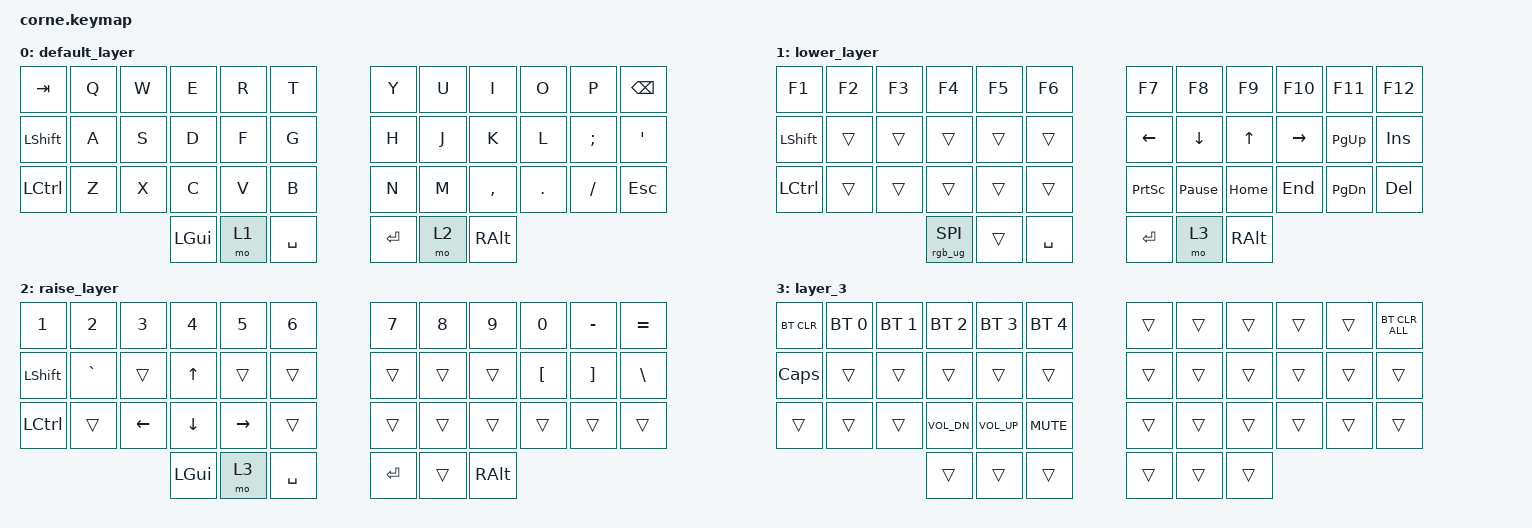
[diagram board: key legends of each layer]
/*
 * Copyright (c) 2020 The ZMK Contributors
 *
 * SPDX-License-Identifier: MIT
 */

#include <behaviors.dtsi>
#include <dt-bindings/zmk/bt.h>
#include <dt-bindings/zmk/keys.h>
#include <dt-bindings/zmk/rgb.h>

/ {
    keymap {
        compatible = "zmk,keymap";

        default_layer {
            // -----------------------------------------------------------------------------------------
            // |  TAB |  Q  |  W  |  E  |  R  |  T  |   |  Y  |  U   |  I  |  O  |  P  | BKSP |
            // | CTRL |  A  |  S  |  D  |  F  |  G  |   |  H  |  J   |  K  |  L  |  ;  |  '   |
            // | SHFT |  Z  |  X  |  C  |  V  |  B  |   |  N  |  M   |  ,  |  .  |  /  | ESC  |
            //                    | GUI | LWR | SPC |   | ENT | RSE  | ALT |

            bindings = <
&kp TAB           &kp Q  &kp W  &kp E     &kp R  &kp T        &kp Y    &kp U  &kp I      &kp O    &kp P     &kp BSPC
&kp LEFT_SHIFT    &kp A  &kp S  &kp D     &kp F  &kp G        &kp H    &kp J  &kp K      &kp L    &kp SEMI  &kp SQT
&kp LEFT_CONTROL  &kp Z  &kp X  &kp C     &kp V  &kp B        &kp N    &kp M  &kp COMMA  &kp DOT  &kp FSLH  &kp ESC
                                &kp LGUI  &mo 1  &kp SPACE    &kp RET  &mo 2  &kp RALT
            >;
        };

        lower_layer {
            // -----------------------------------------------------------------------------------------
            // |  TAB |  1  |  2  |  3  |  4  |  5  |   |  6  |  7  |  8  |  9  |  0  | BKSP |
            // | BTCLR| BT1 | BT2 | BT3 | BT4 | BT5 |   | LFT | DWN |  UP | RGT |     |      |
            // | SHFT |     |     |     |     |     |   |     |     |     |     |     |      |
            //                    | GUI |     | SPC |   | ENT |     | ALT |

            bindings = <
&kp F1          &kp F2  &kp F3  &kp F4           &kp F5  &kp F6       &kp F7           &kp F8           &kp F9    &kp F10    &kp F11        &kp F12
&kp LEFT_SHIFT  &trans  &trans  &trans           &trans  &trans       &kp LEFT         &kp DOWN         &kp UP    &kp RIGHT  &kp PAGE_UP    &kp INSERT
&kp LCTRL       &trans  &trans  &trans           &trans  &trans       &kp PRINTSCREEN  &kp PAUSE_BREAK  &kp HOME  &kp END    &kp PAGE_DOWN  &kp DELETE
                                &rgb_ug RGB_SPI  &trans  &kp SPACE    &kp RET          &mo 3            &kp RALT
            >;
        };

        raise_layer {
            // -----------------------------------------------------------------------------------------
            // |  TAB |  !  |  @  |  #  |  $  |  %  |   |  ^  |  &  |  *  |  (  |  )  | BKSP |
            // | CTRL |     |     |     |     |     |   |  -  |  =  |  [  |  ]  |  \  |  `   |
            // | SHFT |     |     |     |     |     |   |  _  |  +  |  {  |  }  | "|" |  ~   |
            //                    | GUI |     | SPC |   | ENT |     | ALT |

            bindings = <
&kp NUMBER_1    &kp NUMBER_2  &kp NUMBER_3    &kp NUMBER_4    &kp NUMBER_5     &kp NUMBER_6    &kp NUMBER_7  &kp NUMBER_8  &kp NUMBER_9  &kp NUMBER_0      &kp MINUS          &kp EQUAL
&kp LEFT_SHIFT  &kp GRAVE     &trans          &kp UP_ARROW    &trans           &trans          &trans        &trans        &trans        &kp LEFT_BRACKET  &kp RIGHT_BRACKET  &kp BACKSLASH
&kp LCTRL       &trans        &kp LEFT_ARROW  &kp DOWN_ARROW  &kp RIGHT_ARROW  &trans          &trans        &trans        &trans        &trans            &trans             &trans
                                              &kp LGUI        &mo 3            &kp SPACE       &kp RET       &trans        &kp RALT
            >;
        };

        layer_3 {
            bindings = <
&bt BT_CLR    &bt BT_SEL 0  &bt BT_SEL 1  &bt BT_SEL 2  &bt BT_SEL 3     &bt BT_SEL 4    &trans  &trans  &trans  &trans  &trans  &bt BT_CLR_ALL
&kp CAPSLOCK  &trans        &trans        &trans        &trans           &trans          &trans  &trans  &trans  &trans  &trans  &trans
&trans        &trans        &trans        &kp C_VOL_DN  &kp C_VOLUME_UP  &kp C_MUTE      &trans  &trans  &trans  &trans  &trans  &trans
                                          &trans        &trans           &trans          &trans  &trans  &trans
            >;
        };
    };
};
